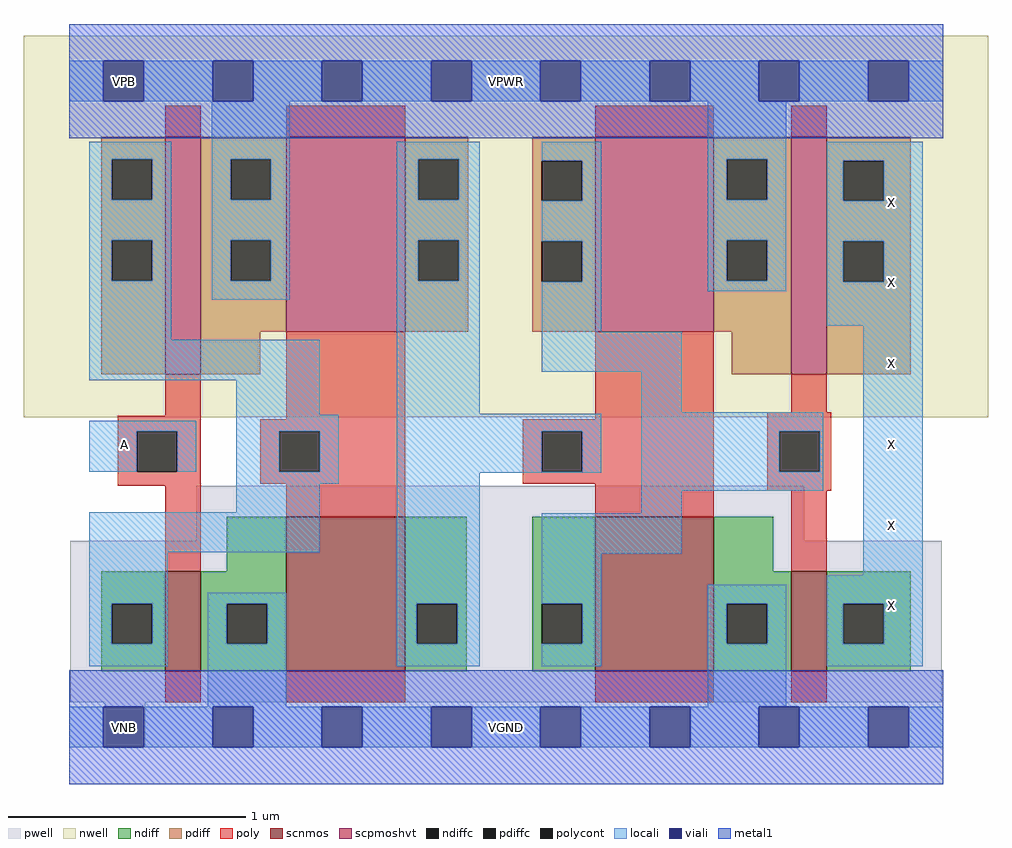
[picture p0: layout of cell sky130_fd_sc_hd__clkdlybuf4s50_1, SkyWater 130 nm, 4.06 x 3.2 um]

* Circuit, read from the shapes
.subckt sky130_fd_sc_hd__clkdlybuf4s50_1 A VGND VNB VPB VPWR X
XM1 VGND A n1 VNB sky130_fd_pr__nfet_01v8 w=0.42 l=0.15
XM2 n2 n1 VGND VNB sky130_fd_pr__nfet_01v8 w=0.65 l=0.5
XM3 VGND n2 n3 VNB sky130_fd_pr__nfet_01v8 w=0.65 l=0.5
XM4 X n3 VGND VNB sky130_fd_pr__nfet_01v8 w=0.42 l=0.15
XM5 VPWR A n1 VPB sky130_fd_pr__pfet_01v8_hvt w=1 l=0.15
XM6 n2 n1 VPWR VPB sky130_fd_pr__pfet_01v8_hvt w=0.82 l=0.5
XM7 VPWR n2 n3 VPB sky130_fd_pr__pfet_01v8_hvt w=0.82 l=0.5
XM8 X n3 VPWR VPB sky130_fd_pr__pfet_01v8_hvt w=1 l=0.15
.ends

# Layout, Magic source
magic
tech sky130B
magscale 1 2
<< nwell >>
rect -38 261 774 582
<< pwell >>
rect 107 157 619 203
rect 1 21 735 157
rect 30 -17 64 21
<< scnmos >>
rect 81 47 111 131
rect 183 47 283 177
rect 443 47 543 177
rect 608 47 638 131
<< scpmoshvt >>
rect 81 297 111 497
rect 183 333 283 497
rect 443 333 543 497
rect 608 297 638 497
<< ndiff >>
rect 133 131 183 177
rect 27 104 81 131
rect 27 70 36 104
rect 70 70 81 104
rect 27 47 81 70
rect 111 104 183 131
rect 111 70 133 104
rect 167 70 183 104
rect 111 47 183 70
rect 283 104 335 177
rect 283 70 293 104
rect 327 70 335 104
rect 283 47 335 70
rect 390 104 443 177
rect 390 70 398 104
rect 432 70 443 104
rect 390 47 443 70
rect 543 131 593 177
rect 543 104 608 131
rect 543 70 554 104
rect 588 70 608 104
rect 543 47 608 70
rect 638 104 709 131
rect 638 70 652 104
rect 686 70 709 104
rect 638 47 709 70
<< pdiff >>
rect 27 478 81 497
rect 27 444 36 478
rect 70 444 81 478
rect 27 410 81 444
rect 27 376 36 410
rect 70 376 81 410
rect 27 297 81 376
rect 111 478 183 497
rect 111 444 136 478
rect 170 444 183 478
rect 111 410 183 444
rect 111 376 136 410
rect 170 376 183 410
rect 111 333 183 376
rect 283 478 336 497
rect 283 444 294 478
rect 328 444 336 478
rect 283 410 336 444
rect 283 376 294 410
rect 328 376 336 410
rect 283 333 336 376
rect 390 477 443 497
rect 390 443 398 477
rect 432 443 443 477
rect 390 409 443 443
rect 390 375 398 409
rect 432 375 443 409
rect 390 333 443 375
rect 543 478 608 497
rect 543 444 554 478
rect 588 444 608 478
rect 543 410 608 444
rect 543 376 554 410
rect 588 376 608 410
rect 543 333 608 376
rect 111 297 161 333
rect 558 297 608 333
rect 638 477 709 497
rect 638 443 652 477
rect 686 443 709 477
rect 638 409 709 443
rect 638 375 652 409
rect 686 375 709 409
rect 638 297 709 375
<< ndiffc >>
rect 36 70 70 104
rect 133 70 167 104
rect 293 70 327 104
rect 398 70 432 104
rect 554 70 588 104
rect 652 70 686 104
<< pdiffc >>
rect 36 444 70 478
rect 36 376 70 410
rect 136 444 170 478
rect 136 376 170 410
rect 294 444 328 478
rect 294 376 328 410
rect 398 443 432 477
rect 398 375 432 409
rect 554 444 588 478
rect 554 376 588 410
rect 652 443 686 477
rect 652 375 686 409
<< poly >>
rect 81 497 111 523
rect 183 497 283 523
rect 443 497 543 523
rect 608 497 638 523
rect 81 262 111 297
rect 41 249 111 262
rect 183 259 283 333
rect 443 259 543 333
rect 608 265 638 297
rect 41 215 57 249
rect 91 215 111 249
rect 41 203 111 215
rect 161 249 283 259
rect 161 215 177 249
rect 211 215 283 249
rect 161 205 283 215
rect 382 249 543 259
rect 382 215 398 249
rect 432 215 543 249
rect 382 205 543 215
rect 81 131 111 203
rect 183 177 283 205
rect 443 177 543 205
rect 588 249 642 265
rect 588 215 598 249
rect 632 215 642 249
rect 588 199 642 215
rect 608 131 638 199
rect 81 21 111 47
rect 183 21 283 47
rect 443 21 543 47
rect 608 21 638 47
<< polycont >>
rect 57 215 91 249
rect 177 215 211 249
rect 398 215 432 249
rect 598 215 632 249
<< locali >>
rect 0 527 29 561
rect 63 527 121 561
rect 155 527 213 561
rect 247 527 305 561
rect 339 527 397 561
rect 431 527 489 561
rect 523 527 581 561
rect 615 527 673 561
rect 707 527 736 561
rect 17 478 86 493
rect 17 444 36 478
rect 70 444 86 478
rect 17 410 86 444
rect 17 376 36 410
rect 70 376 86 410
rect 17 326 86 376
rect 120 478 186 527
rect 120 444 136 478
rect 170 444 186 478
rect 120 410 186 444
rect 120 376 136 410
rect 170 376 186 410
rect 120 360 186 376
rect 276 478 346 493
rect 276 444 294 478
rect 328 444 346 478
rect 276 410 346 444
rect 276 376 294 410
rect 328 376 346 410
rect 17 292 211 326
rect 141 263 211 292
rect 276 264 346 376
rect 398 477 448 493
rect 432 443 448 477
rect 398 409 448 443
rect 432 375 448 409
rect 398 333 448 375
rect 538 478 604 527
rect 538 444 554 478
rect 588 444 604 478
rect 538 410 604 444
rect 538 376 554 410
rect 588 376 604 410
rect 538 367 604 376
rect 638 477 719 493
rect 638 443 652 477
rect 686 443 719 477
rect 638 409 719 443
rect 638 375 652 409
rect 686 375 719 409
rect 638 338 719 375
rect 398 299 516 333
rect 482 265 516 299
rect 17 249 107 258
rect 17 215 57 249
rect 91 215 107 249
rect 141 249 227 263
rect 141 215 177 249
rect 211 215 227 249
rect 141 205 227 215
rect 276 249 448 264
rect 276 215 398 249
rect 432 215 448 249
rect 276 214 448 215
rect 482 249 635 265
rect 482 215 598 249
rect 632 215 635 249
rect 141 181 211 205
rect 17 147 211 181
rect 17 104 83 147
rect 17 70 36 104
rect 70 70 83 104
rect 17 51 83 70
rect 117 104 183 113
rect 117 70 133 104
rect 167 70 183 104
rect 117 17 183 70
rect 276 104 346 214
rect 482 199 635 215
rect 482 180 516 199
rect 276 70 293 104
rect 327 70 346 104
rect 276 51 346 70
rect 398 146 516 180
rect 398 104 448 146
rect 669 128 719 338
rect 432 70 448 104
rect 398 51 448 70
rect 538 104 604 120
rect 538 70 554 104
rect 588 70 604 104
rect 538 17 604 70
rect 638 104 719 128
rect 638 70 652 104
rect 686 70 719 104
rect 638 51 719 70
rect 0 -17 29 17
rect 63 -17 121 17
rect 155 -17 213 17
rect 247 -17 305 17
rect 339 -17 397 17
rect 431 -17 489 17
rect 523 -17 581 17
rect 615 -17 673 17
rect 707 -17 736 17
<< viali >>
rect 29 527 63 561
rect 121 527 155 561
rect 213 527 247 561
rect 305 527 339 561
rect 397 527 431 561
rect 489 527 523 561
rect 581 527 615 561
rect 673 527 707 561
rect 29 -17 63 17
rect 121 -17 155 17
rect 213 -17 247 17
rect 305 -17 339 17
rect 397 -17 431 17
rect 489 -17 523 17
rect 581 -17 615 17
rect 673 -17 707 17
<< metal1 >>
rect 0 561 736 592
rect 0 527 29 561
rect 63 527 121 561
rect 155 527 213 561
rect 247 527 305 561
rect 339 527 397 561
rect 431 527 489 561
rect 523 527 581 561
rect 615 527 673 561
rect 707 527 736 561
rect 0 496 736 527
rect 0 17 736 48
rect 0 -17 29 17
rect 63 -17 121 17
rect 155 -17 213 17
rect 247 -17 305 17
rect 339 -17 397 17
rect 431 -17 489 17
rect 523 -17 581 17
rect 615 -17 673 17
rect 707 -17 736 17
rect 0 -48 736 -17
<< labels >>
flabel locali s 30 221 64 255 0 FreeSans 400 0 0 0 A
port 1 nsew signal input
flabel locali s 676 425 710 459 0 FreeSans 400 0 0 0 X
port 6 nsew signal output
flabel locali s 676 357 710 391 0 FreeSans 400 0 0 0 X
port 6 nsew signal output
flabel locali s 676 289 710 323 0 FreeSans 400 0 0 0 X
port 6 nsew signal output
flabel locali s 676 221 710 255 0 FreeSans 400 0 0 0 X
port 6 nsew signal output
flabel locali s 676 153 710 187 0 FreeSans 400 0 0 0 X
port 6 nsew signal output
flabel locali s 676 85 710 119 0 FreeSans 400 0 0 0 X
port 6 nsew signal output
flabel pwell s 30 -17 64 17 0 FreeSans 200 0 0 0 VNB
port 3 nsew ground bidirectional
flabel nwell s 30 527 64 561 0 FreeSans 200 0 0 0 VPB
port 4 nsew power bidirectional
flabel metal1 s 30 -17 64 17 0 FreeSans 200 0 0 0 VGND
port 2 nsew ground bidirectional abutment
flabel metal1 s 30 527 64 561 0 FreeSans 200 0 0 0 VPWR
port 5 nsew power bidirectional abutment
rlabel comment s 0 0 0 0 4 clkdlybuf4s50_1
rlabel metal1 s 0 -48 736 48 1 VGND
port 2 nsew ground bidirectional abutment
rlabel metal1 s 0 496 736 592 1 VPWR
port 5 nsew power bidirectional abutment
<< properties >>
string FIXED_BBOX 0 0 736 544
string GDS_END 3274584
string GDS_FILE $PDKPATH/libs.ref/sky130_fd_sc_hd/gds/sky130_fd_sc_hd.gds
string GDS_START 3268432
string LEFclass CORE
string LEFsite unithd
string LEFsymmetry X Y R90
string path 0.000 0.000 18.400 0.000 
<< end >>
